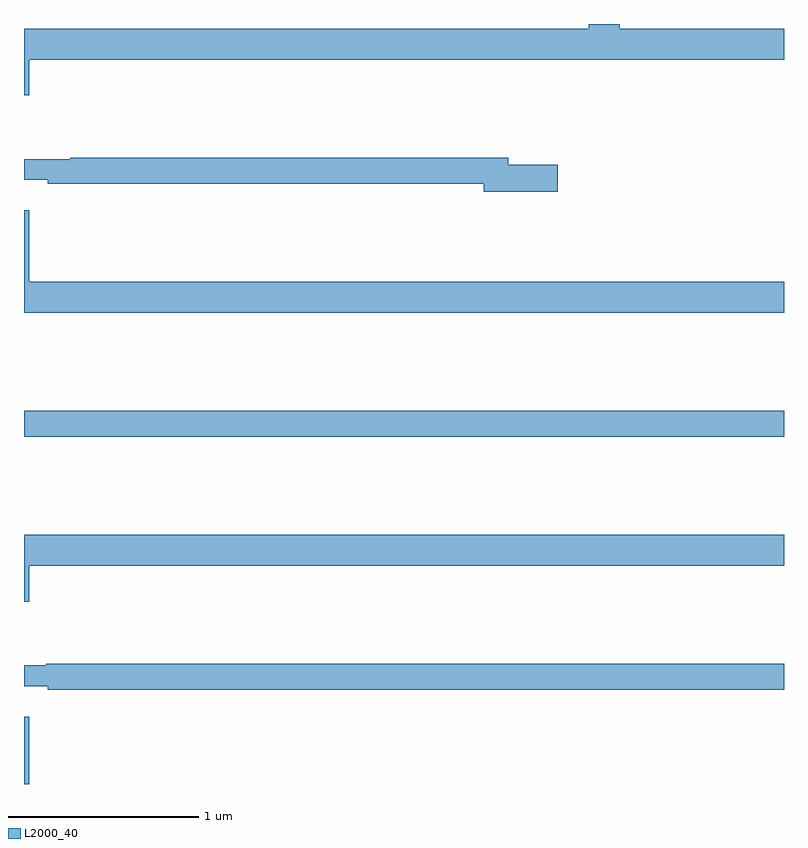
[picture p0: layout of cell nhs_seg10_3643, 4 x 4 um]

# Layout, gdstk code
import gdstk
lib = gdstk.Library(unit=1e-6, precision=1e-09)
def R(c, l, rs):  # rectangles x0, y0, x1, y1
    for r in rs: c.add(gdstk.rectangle(r[:2], r[2:], *l))
def P(c, l, *ps):  # polygons
    for p in ps: c.add(gdstk.Polygon(p, *l))
L2000_40 = (2000, 40)

nhs_seg10_3643 = lib.new_cell('nhs_seg10_3643')
R(nhs_seg10_3643, L2000_40, [(309,1300.5,309.028,1300.855), (309,1302.328,313,1302.464)])
P(nhs_seg10_3643, L2000_40, [(309.028,1304.312),(313,1304.312),(313,1304.476),(312.136,1304.476),(312.136,1304.5),(311.972,1304.5),(311.972,1304.476),(309,1304.476),(309,1304.124),(309.028,1304.124)],
  [(311.809,1303.76),(311.548,1303.76),(311.548,1303.796),(309.244,1303.796),(309.244,1303.789),(309,1303.789),(309,1303.679),(309.124,1303.679),(309.124,1303.66),(311.42,1303.66),(311.42,1303.618),(311.809,1303.618)],
  [(313,1303.144),(309.028,1303.144),(309.028,1303.519),(309,1303.519),(309,1302.98),(313,1302.98)],
  [(309.028,1301.648),(313,1301.648),(313,1301.812),(309,1301.812),(309,1301.46),(309.028,1301.46)],
  [(313,1301.132),(309.118,1301.132),(309.118,1301.125),(309,1301.125),(309,1301.015),(309.124,1301.015),(309.124,1300.996),(313,1300.996)])

lib.write_gds('nhs_seg10_3643.gds')
